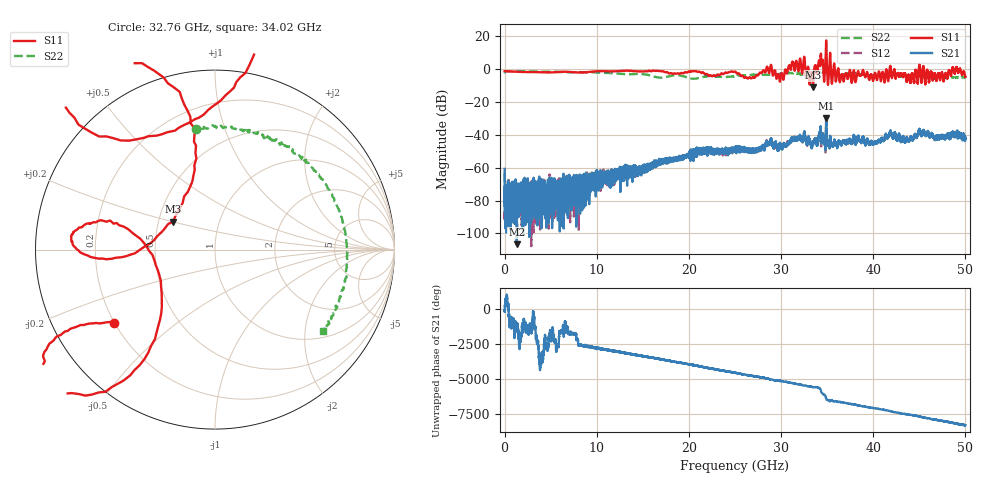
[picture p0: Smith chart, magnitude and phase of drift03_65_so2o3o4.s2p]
!Created with skrf (http://scikit-rf.org).
# Hz S RI R 50.0
!freq ReS11 ImS11 ReS21 ImS21 ReS12 ImS12 ReS22 ImS22
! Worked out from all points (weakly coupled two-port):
!   10001 points, 300 kHz to 50 GHz, reference 50 ohm
!   highest |S21| = -29.79 dB at 34.9 GHz (marker M1); lowest = -106.7 dB at 1.32 GHz (marker M2)
!   lowest |S11| = -11.1 dB at 33.47 GHz (marker M3), VSWR 1.78, Z = 29.8 + j10.1 ohm
!   |S11| at or under -10 dB: 33.44886 GHz to 33.48423 GHz (35.37 MHz wide, 0.106 % of centre)
!   |S22| runs from -5.9 to -1.3 dB; largest |S21 - S12| = 0.0086
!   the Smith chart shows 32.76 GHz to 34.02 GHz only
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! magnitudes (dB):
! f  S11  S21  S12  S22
! 300 kHz  -1.3  -60.7  -63.2  -2.0
! 255.3 MHz  -1.3  -72.3  -80.7  -1.4
! 1.32 GHz  -1.6  -106.7  -73.8  -1.4
! 4.54 GHz  -2.1  -85.3  -77.8  -1.6
! 8.335 GHz  -2.2  -68.2  -68.7  -1.9
! 16.67 GHz  -1.1  -56.7  -57.1  -5.2
! 25 GHz  -1.5  -47.7  -49.6  -4.3
! 26.92 GHz  -4.9  -49.4  -49.9  -3.5
! 28.72 GHz  -2.3  -45.3  -46.2  -3.6
! 30.06 GHz  -2.5  -47.9  -47.6  -2.8
! 31.87 GHz  -1.4  -42.4  -41.7  -2.9
! 33.34 GHz  -2.2  -48.2  -47.3  -2.9
! 33.47 GHz  -11.1  -45.7  -44.8  -2.8
! 34.29 GHz  6.0  -34.8  -35.6  -2.3
! 34.9 GHz  17.2  -29.8  -31.4  -2.4
! 36.58 GHz  -3.4  -46.1  -46.1  -3.6
! 40.16 GHz  -2.8  -44.8  -44.6  -3.7
! 41.67 GHz  -5.5  -40.6  -40.9  -3.7
! 43.84 GHz  -3.9  -43.3  -43.8  -3.8
! 45.21 GHz  -7.3  -39.2  -39.4  -4.6
! 49.21 GHz  -2.0  -40.4  -39.3  -5.2
! 50 GHz  -4.8  -42.1  -42.8  -5.0
